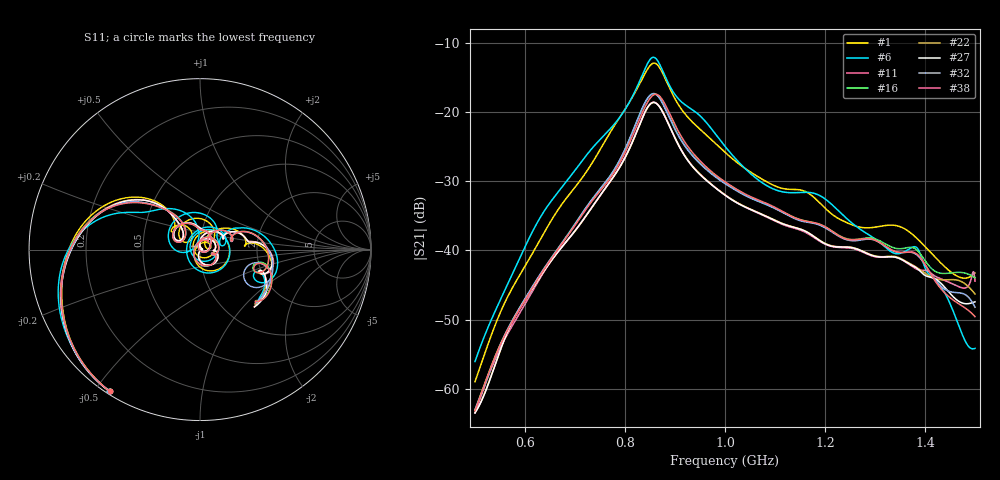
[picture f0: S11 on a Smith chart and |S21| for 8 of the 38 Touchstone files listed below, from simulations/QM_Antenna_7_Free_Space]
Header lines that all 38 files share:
! TOUCHSTONE file generated by CST MICROWAVE STUDIO
! Project name: Scenario_1_Free_Space_out_of_line.cst
! Header version: 2018
! Port assignment regex: !\s*Touchstone port\s*([0-9]+)\s*=\s*(CST MWS port|CST DS port)\s*([0-9]+|Zmin|Zmax)\s*\(\"(.*)\"\)(\s*mode\s*([0-9]+))?.*
! Touchstone port assignment:
! Touchstone port 1 = CST MWS port 1 ("")
! Touchstone port 2 = CST MWS port 2 ("")
# GHz S DB R 50
Fixed: Lambda = 346.42, Step_1 = 17.321, L_HA = 400, MT = 2.54, Rad_Dielectric = 30, Rad_Lower = 7.3, Rad_Upper = 30, a_HA = 580, a_WG = 246, b_HA = 500, b_WG = 121, c_HA = 0, c_WG = 187, d_feed = 85, h_feed = 15, h_lower = 18, h_upper = 40
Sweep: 500 MHz to 1.5 GHz
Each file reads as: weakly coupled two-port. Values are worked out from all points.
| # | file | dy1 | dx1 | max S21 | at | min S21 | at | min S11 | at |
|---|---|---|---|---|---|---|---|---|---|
| 1 | 19_2.s2p | 35.502 | 346 | -12.94 dB | 858 MHz | -59.0 dB | 500 MHz | -32.4 dB | 1.108 GHz |
| 2 | 19_3.s2p | 35.502 | 520 | -14.33 dB | 862 MHz | -61.0 dB | 500 MHz | -33.7 dB | 931 MHz |
| 3 | 19_4.s2p | 35.502 | 693 | -15.90 dB | 857 MHz | -62.3 dB | 500 MHz | -39.0 dB | 927 MHz |
| 4 | 19_5.s2p | 35.502 | 866 | -17.38 dB | 856 MHz | -63.0 dB | 500 MHz | -48.0 dB | 923 MHz |
| 5 | 19_6.s2p | 35.502 | 1039 | -18.59 dB | 857 MHz | -63.5 dB | 500 MHz | -57.7 dB | 919 MHz |
| 6 | 20_1.s2p | 18.161 | 173 | -12.10 dB | 857 MHz | -56.1 dB | 500 MHz | -29.4 dB | 746 MHz |
| 7 | 20_2.s2p | 18.161 | 346 | -12.81 dB | 859 MHz | -59.0 dB | 500 MHz | -30.6 dB | 1.108 GHz |
| 8 | 20_3.s2p | 18.161 | 520 | -14.18 dB | 859 MHz | -60.9 dB | 500 MHz | -33.5 dB | 1.081 GHz |
| 9 | 20_4.s2p | 18.161 | 693 | -15.84 dB | 857 MHz | -62.3 dB | 500 MHz | -39.3 dB | 927 MHz |
| 10 | 20_5.s2p | 18.161 | 866 | -17.37 dB | 858 MHz | -63.0 dB | 500 MHz | -49.5 dB | 923 MHz |
| 11 | 20_6.s2p | 18.161 | 1039 | -18.60 dB | 857 MHz | -63.5 dB | 500 MHz | -60.0 dB | 919 MHz |
| 12 | 21_1.s2p | 0.82 | 173 | -11.97 dB | 858 MHz | -56.6 dB | 1.483 GHz | -30.0 dB | 747 MHz |
| 13 | 21_2.s2p | 0.82 | 346 | -12.71 dB | 858 MHz | -58.9 dB | 500 MHz | -29.5 dB | 1.108 GHz |
| 14 | 21_3.s2p | 0.82 | 520 | -14.09 dB | 859 MHz | -60.9 dB | 500 MHz | -34.2 dB | 1.082 GHz |
| 15 | 21_4.s2p | 0.82 | 693 | -15.75 dB | 859 MHz | -62.2 dB | 500 MHz | -39.4 dB | 928 MHz |
| 16 | 21_5.s2p | 0.82 | 866 | -17.34 dB | 858 MHz | -63.0 dB | 500 MHz | -49.0 dB | 924 MHz |
| 17 | 21_6.s2p | 0.82 | 1039 | -18.64 dB | 857 MHz | -63.5 dB | 500 MHz | -54.9 dB | 919 MHz |
| 18 | 22_2.s2p | -16.521 | 346 | -12.68 dB | 858 MHz | -58.9 dB | 500 MHz | -29.0 dB | 1.108 GHz |
| 19 | 22_3.s2p | -16.521 | 520 | -14.04 dB | 858 MHz | -60.9 dB | 500 MHz | -34.7 dB | 1.081 GHz |
| 20 | 22_4.s2p | -16.521 | 693 | -15.76 dB | 858 MHz | -62.3 dB | 500 MHz | -39.6 dB | 928 MHz |
| 21 | 22_5.s2p | -16.521 | 866 | -17.29 dB | 857 MHz | -63.1 dB | 500 MHz | -47.4 dB | 924 MHz |
| 22 | 22_6.s2p | -16.521 | 1039 | -18.62 dB | 858 MHz | -63.5 dB | 500 MHz | -55.9 dB | 919 MHz |
| 23 | 23_2.s2p | -33.862 | 346 | -12.67 dB | 858 MHz | -58.9 dB | 500 MHz | -29.0 dB | 940 MHz |
| 24 | 23_3.s2p | -33.862 | 520 | -14.07 dB | 858 MHz | -60.9 dB | 500 MHz | -35.4 dB | 1.083 GHz |
| 25 | 23_4.s2p | -33.862 | 693 | -15.77 dB | 857 MHz | -62.3 dB | 500 MHz | -62.0 dB | 934 MHz |
| 26 | 23_5.s2p | -33.862 | 866 | -17.34 dB | 858 MHz | -63.0 dB | 500 MHz | -49.6 dB | 924 MHz |
| 27 | 23_6.s2p | -33.862 | 1039 | -18.62 dB | 857 MHz | -63.5 dB | 500 MHz | -58.4 dB | 920 MHz |
| 28 | 24_1.s2p | -51.203 | 173 | -11.91 dB | 861 MHz | -56.1 dB | 500 MHz | -29.4 dB | 747 MHz |
| 29 | 24_2.s2p | -51.203 | 346 | -12.73 dB | 859 MHz | -59.0 dB | 500 MHz | -28.9 dB | 939 MHz |
| 30 | 24_3.s2p | -51.203 | 520 | -14.15 dB | 862 MHz | -61.0 dB | 500 MHz | -35.3 dB | 1.082 GHz |
| 31 | 24_4.s2p | -51.203 | 693 | -15.88 dB | 862 MHz | -62.4 dB | 500 MHz | -39.2 dB | 929 MHz |
| 32 | 24_5.s2p | -51.203 | 866 | -17.36 dB | 857 MHz | -63.0 dB | 500 MHz | -48.8 dB | 924 MHz |
| 33 | 24_6.s2p | -51.203 | 1039 | -18.63 dB | 858 MHz | -63.5 dB | 500 MHz | -57.9 dB | 920 MHz |
| 34 | 25_1.s2p | -68.544 | 173 | -11.98 dB | 857 MHz | -56.2 dB | 500 MHz | -29.3 dB | 748 MHz |
| 35 | 25_2.s2p | -68.544 | 346 | -12.75 dB | 859 MHz | -59.1 dB | 500 MHz | -29.2 dB | 1.108 GHz |
| 36 | 25_3.s2p | -68.544 | 520 | -14.22 dB | 858 MHz | -61.0 dB | 500 MHz | -34.1 dB | 1.083 GHz |
| 37 | 25_4.s2p | -68.544 | 693 | -15.89 dB | 857 MHz | -62.3 dB | 500 MHz | -39.8 dB | 927 MHz |
| 38 | 25_5.s2p | -68.544 | 866 | -17.45 dB | 862 MHz | -63.2 dB | 500 MHz | -48.8 dB | 924 MHz |
